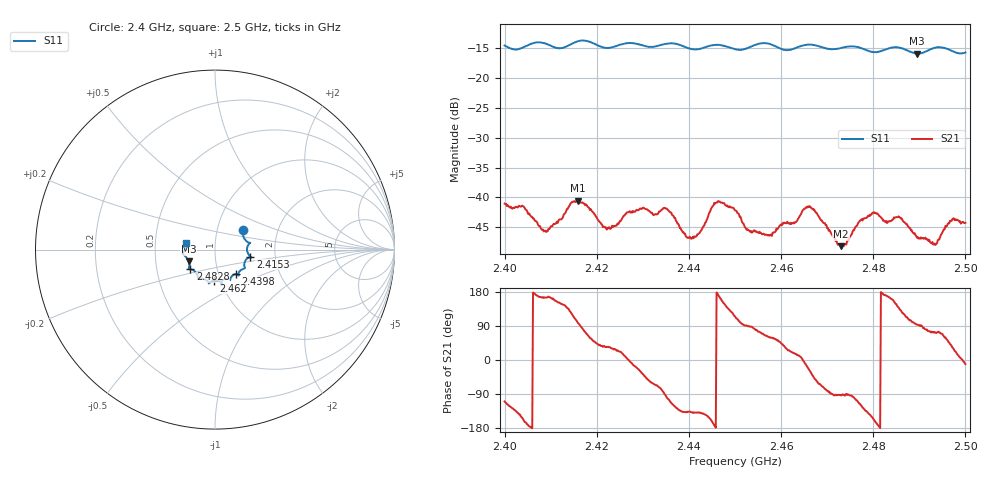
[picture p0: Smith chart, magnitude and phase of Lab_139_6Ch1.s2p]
# Hz S RI R 50
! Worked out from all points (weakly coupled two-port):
!   601 points, 2.4 GHz to 2.5 GHz, reference 50 ohm
!   highest |S21| = -40.51 dB at 2.4158 GHz (marker M1); lowest = -48.2 dB at 2.473 GHz (marker M2)
!   lowest |S11| = -15.9 dB at 2.4895 GHz (marker M3), VSWR 1.38, Z = 36.9 - j5 ohm
!   |S11| at or under -10 dB: start of sweep to end of sweep
!   S12 and S22 are empty: the file has one direction only
!   S11 on the Smith chart (normalised r, x): 2.4 GHz: 1.33, +0.29; 2.4153 GHz: 1.48, -0.12; 2.4398 GHz: 1.21, -0.34; 2.462 GHz: 0.93, -0.33; 2.4828 GHz: 0.74, -0.17; 2.5 GHz: 0.72, +0.06
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2.4e9  0.1549 0.1066  -0.00295 -0.00837  0 0  0 0
2.408833e9  0.1924 0.035  -0.00509 0.00138  0 0  0 0
2.415333e9  0.1966 -0.0386  -0.00288 0.0087  0 0  0 0
2.415833e9  0.1996 -0.0408  -0.00149 0.00931  0 0  0 0
2.416667e9  0.2024 -0.0429  0.000502 0.00903  0 0  0 0
2.4225e9  0.1651 -0.0702  0.00452 0.00316  0 0  0 0
2.433333e9  0.1311 -0.1337  0.00248 -0.00692  0 0  0 0
2.435667e9  0.1318 -0.1448  -0.00197 -0.00746  0 0  0 0
2.439833e9  0.1156 -0.1362  -0.00336 -0.00314  0 0  0 0
2.446e9  0.0847 -0.1706  -0.00908 0.000313  0 0  0 0
2.45e9  0.0648 -0.1627  -0.00329 0.00706  0 0  0 0
2.4535e9  0.0361 -0.1805  0.000174 0.00523  0 0  0 0
2.462e9  -0.00494 -0.1729  0.00565 0.00236  0 0  0 0
2.466667e9  -0.0342 -0.1879  0.0064 -0.00492  0 0  0 0
2.473e9  -0.0801 -0.1602  -0.00024 -0.0039  0 0  0 0
2.479667e9  -0.1074 -0.1271  -0.00627 -0.00362  0 0  0 0
2.482833e9  -0.1365 -0.1095  -0.00625 0.0011  0 0  0 0
2.483333e9  -0.1401 -0.1091  -0.0061 0.00152  0 0  0 0
2.4895e9  -0.1464 -0.0659  -0.000281 0.00459  0 0  0 0
2.493333e9  -0.1782 -0.0254  0.00115 0.00395  0 0  0 0
2.497e9  -0.1698 -0.00701  0.00507 0.00385  0 0  0 0
2.5e9  -0.1595 0.0391  0.00603 -0.00115  0 0  0 0
